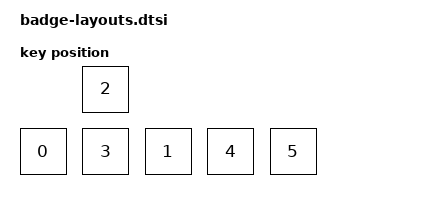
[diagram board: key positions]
#include <physical_layouts.dtsi>

/ {
    physical_layout0: physical_layout_0 {
        compatible = "zmk,physical-layout";
        display-name = "Tues BADGE";

        kscan = <&kscan0>;
        transform = <&default_transform>;

        keys  //                     w   h    x    y     rot    rx    ry
            = <&key_physical_attrs 100 100    0  125       0     0     0>
            , <&key_physical_attrs 100 100  250  125       0     0     0>
            , <&key_physical_attrs 100 100  125    0       0     0     0>
            , <&key_physical_attrs 100 100  125  125       0     0     0>
            , <&key_physical_attrs 100 100  375  125       0     0     0>
            , <&key_physical_attrs 100 100  500  125       0     0     0>
            ;
    };
};
